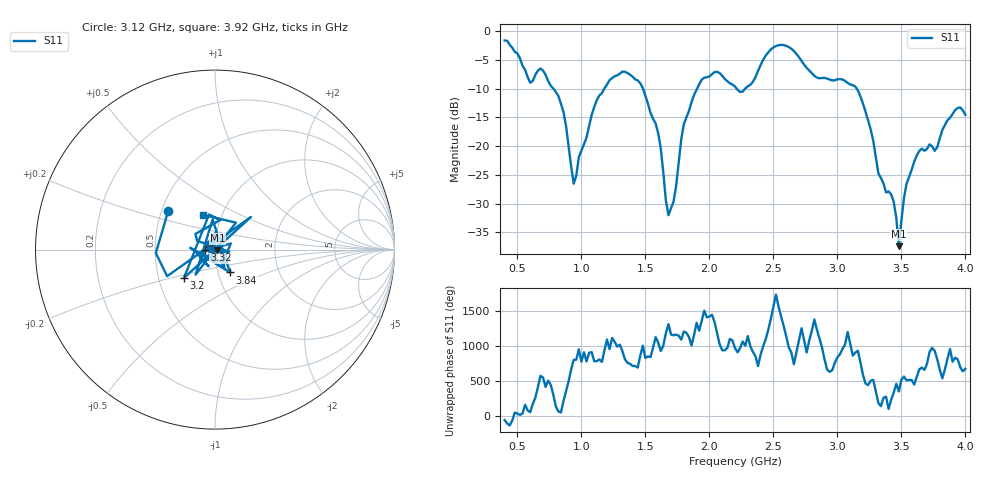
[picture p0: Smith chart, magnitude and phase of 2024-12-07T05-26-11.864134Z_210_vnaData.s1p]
!Created with skrf (http://scikit-rf.org).
# Hz S RI R 50.0
!freq ReS11 ImS11
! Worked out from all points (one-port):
!   181 points, 400 MHz to 4 GHz, reference 50 ohm
!   lowest |S11| = -37.4 dB at 3.48 GHz (marker M1), VSWR 1.03, Z = 51.3 - j0.29 ohm
!   |S11| at or under -10 dB: 781.1 MHz to 1.179 GHz (397.5 MHz wide, 40.6 % of centre); 1.481 GHz to 1.904 GHz (422.5 MHz wide, 25 % of centre); 3.151 GHz to end of sweep (the widest 3 of 4)
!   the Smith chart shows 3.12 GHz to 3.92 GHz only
!   S11 on the Smith chart (normalised r, x): 3.12 GHz: 0.54, +0.26; 3.2 GHz: 0.68, -0.23; 3.32 GHz: 0.89, -0.01; 3.84 GHz: 1.14, -0.30; 3.92 GHz: 0.81, +0.33
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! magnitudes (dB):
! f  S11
! 400 MHz  -1.6
! 600 MHz  -9.0
! 700 MHz  -6.8
! 860 MHz  -14.1
! 940 MHz  -26.5
! 1.12 GHz  -12.0
! 1.3 GHz  -7.4
! 1.46 GHz  -9.1
! 1.58 GHz  -16.1
! 1.68 GHz  -32.0
! 1.76 GHz  -22.9
! 1.8 GHz  -16.2
! 1.94 GHz  -8.4
! 2.2 GHz  -9.6
! 2.32 GHz  -9.3
! 2.5 GHz  -2.8
! 2.66 GHz  -3.4
! 3.1 GHz  -9.3
! 3.12 GHz  -9.4
! 3.2 GHz  -12.6
! 3.32 GHz  -24.7
! 3.44 GHz  -29.7
! 3.48 GHz  -37.4
! 3.52 GHz  -29.1
! 3.56 GHz  -25.4
! 3.84 GHz  -16.3
! 3.92 GHz  -13.7
! 4 GHz  -14.5
